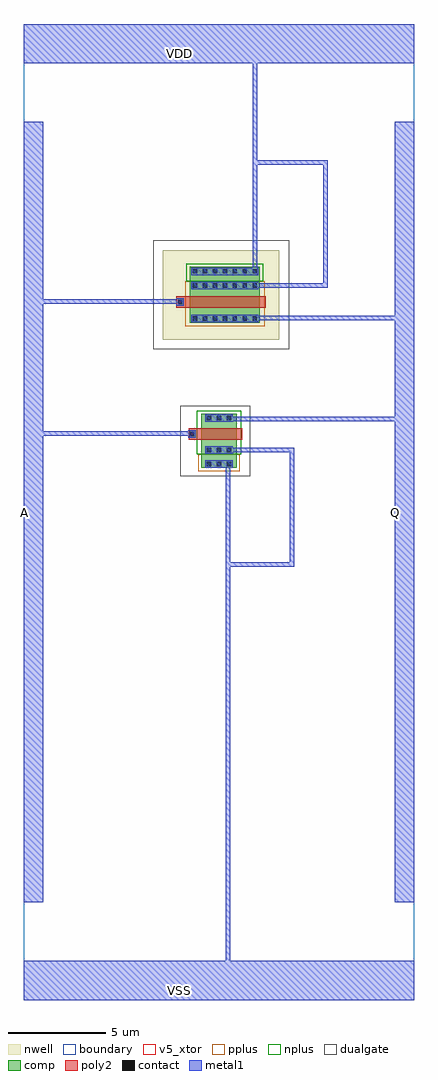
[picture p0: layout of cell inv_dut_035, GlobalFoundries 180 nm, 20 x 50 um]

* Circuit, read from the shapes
.subckt inv_dut_035 A Q VDD VSS
XM1 Q A VSS VSS nfet_05v0 w=1.8u l=0.6u
XM2 VDD A Q VDD pfet_05v0 w=3.6u l=0.6u
.ends

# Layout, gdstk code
from math import pi, radians
import gdstk
lib = gdstk.Library(unit=1e-6, precision=1e-09)
def R(c, l, rs):  # rectangles x0, y0, x1, y1
    for r in rs: c.add(gdstk.rectangle(r[:2], r[2:], *l))
def A(c, l, x, y, w, h, nx, ny, dx, dy):  # array of equal rectangles
    R(c, l, [(x+i*dx, y+j*dy, x+i*dx+w, y+j*dy+h) for i in range(nx) for j in range(ny)])
boundary = (0, 0)
nwell = (21, 0)
comp = (22, 0)
poly2 = (30, 0)
pplus = (31, 0)
nplus = (32, 0)
contact = (33, 0)
metal1 = (34, 0)
dualgate = (55, 0)
v5_xtor = (112, 1)

pfet = lib.new_cell('pfet')
R(pfet, nwell, [(-1.32,-0.99,3.27,4.97)])
R(pfet, comp, [(-0.46,0,2.41,3.6)])
R(pfet, poly2, [(0.31,-0.3,0.91,4.28)])
R(pfet, pplus, [(-0.63,-0.24,1.68,3.84)])
R(pfet, nplus, [(1.68,-0.17,2.58,3.77)])
A(pfet, contact, -0.34, 0.16, 0.22, 0.22, 1, 7, 0, 0.51)
A(pfet, contact, 1.34, 0.16, 0.22, 0.22, 1, 7, 0, 0.51)
A(pfet, contact, 2.07, 0.16, 0.22, 0.22, 1, 7, 0, 0.51)
R(pfet, contact, [(0.5,3.98,0.72,4.2)])
R(pfet, metal1, [(-0.42,0.08,-0.04,3.52), (1.26,0.08,1.64,3.52), (1.99,0.08,2.37,3.52), (0.42,3.9,0.8,4.28)])
R(pfet, dualgate, [(-1.82,-1.49,3.77,5.47)])
R(pfet, v5_xtor, [(-1.82,-1.49,3.77,5.47)])

nfet = lib.new_cell('nfet')
R(nfet, comp, [(-0.42,0,2.35,1.8)])
R(nfet, poly2, [(0.31,-0.3,0.91,2.46)])
R(nfet, pplus, [(1.64,-0.17,2.52,1.97)])
R(nfet, nplus, [(-0.59,-0.24,1.64,2.04)])
A(nfet, contact, -0.32, 0.28, 0.22, 0.22, 1, 3, 0, 0.51)
A(nfet, contact, 1.32, 0.28, 0.22, 0.22, 1, 3, 0, 0.51)
A(nfet, contact, 2.03, 0.28, 0.22, 0.22, 1, 3, 0, 0.51)
R(nfet, contact, [(0.5,2.17,0.72,2.39)])
R(nfet, metal1, [(-0.4,0.2,-0.02,1.6), (1.24,0.2,1.62,1.6), (1.95,0.2,2.33,1.6), (0.42,2.09,0.8,2.47)])
R(nfet, dualgate, [(-0.84,-0.71,2.77,2.88)])
R(nfet, v5_xtor, [(-0.84,-0.71,2.77,2.88)])

inv_dut_035 = lib.new_cell('inv_dut_035')
R(inv_dut_035, boundary, [(-10,-25,10,25)])
R(inv_dut_035, metal1, [(-10,-25,10,-23), (-10,-20,-9,20), (9,-20,10,20), (-10,23,10,25)])
inv_dut_035.add(gdstk.FlexPath([(-2.01,10.79),(-9.445,10.79)], 0.23, ends="flush", simple_path=True, layer=34, datatype=0))  # metal1
inv_dut_035.add(gdstk.FlexPath([(-1.395,4.03),(-9.49,4.03)], 0.23, ends="flush", simple_path=True, layer=34, datatype=0))  # metal1
inv_dut_035.add(gdstk.FlexPath([(1.855,12.345),(1.855,23.625)], 0.23, ends="flush", simple_path=True, layer=34, datatype=0))  # metal1
inv_dut_035.add(gdstk.FlexPath([(0.465,2.45),(0.465,-23.97)], 0.23, ends="flush", simple_path=True, layer=34, datatype=0))  # metal1
inv_dut_035.add(gdstk.FlexPath([(1.83,9.945),(9.14,9.945)], 0.23, ends="flush", simple_path=True, layer=34, datatype=0))  # metal1
inv_dut_035.add(gdstk.FlexPath([(0.55,4.76),(9.255,4.76)], 0.23, ends="flush", simple_path=True, layer=34, datatype=0))  # metal1
inv_dut_035.add(gdstk.FlexPath([(1.785,11.605),(5.455,11.605),(5.455,17.915),(1.835,17.915)], 0.23, ends="flush", simple_path=True, layer=34, datatype=0))  # metal1
inv_dut_035.add(gdstk.FlexPath([(0.555,3.18),(3.735,3.18),(3.735,-2.69),(0.44,-2.69)], 0.23, ends="flush", simple_path=True, layer=34, datatype=0))  # metal1
inv_dut_035.add(gdstk.Reference(pfet, (2.1,10.15), rotation=pi/2))
inv_dut_035.add(gdstk.Reference(nfet, (0.9,4.605), rotation=3*pi/2, x_reflection=True))
inv_dut_035.add(gdstk.Label('VDD', (-2,23.5), layer=34, texttype=10))
inv_dut_035.add(gdstk.Label('VSS', (-2,-24.5), layer=34, texttype=10))
inv_dut_035.add(gdstk.Label('A', (-9.97,0), layer=34, texttype=10))
inv_dut_035.add(gdstk.Label('Q', (9.03,0), layer=34, texttype=10))

lib.write_gds('inv_dut_035.gds')
